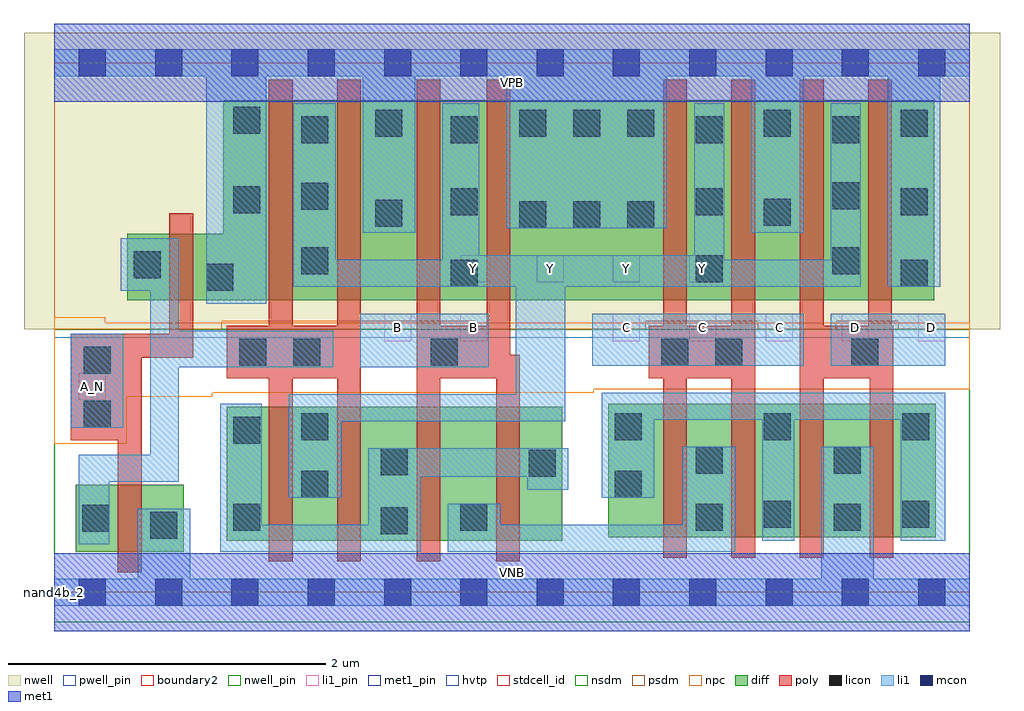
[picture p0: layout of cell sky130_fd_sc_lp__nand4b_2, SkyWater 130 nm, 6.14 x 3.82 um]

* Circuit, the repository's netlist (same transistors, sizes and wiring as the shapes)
* Copyright 2020 The SkyWater PDK Authors
*
* Licensed under the Apache License, Version 2.0 (the "License");
* you may not use this file except in compliance with the License.
* You may obtain a copy of the License at
*
*     https://www.apache.org/licenses/LICENSE-2.0
*
* Unless required by applicable law or agreed to in writing, software
* distributed under the License is distributed on an "AS IS" BASIS,
* WITHOUT WARRANTIES OR CONDITIONS OF ANY KIND, either express or implied.
* See the License for the specific language governing permissions and
* limitations under the License.
*
* SPDX-License-Identifier: Apache-2.0

.SUBCKT sky130_fd_sc_lp__nand4b_2 A_N B C D VGND VNB VPB VPWR Y
*.PININFO A_N:I B:I C:I D:I VGND:I VNB:I VPB:I VPWR:I Y:O
MMP0 Y A VPWR VPB sky130_fd_pr__pfet_01v8_hvt m=2 w=1.26U l=0.15U mult=1 sa=0.265
+ sb=0.265 sd=0.28 area=0.063 perim=1.14
MMP1 Y B VPWR VPB sky130_fd_pr__pfet_01v8_hvt m=2 w=1.26U l=0.15U mult=1 sa=0.265
+ sb=0.265 sd=0.28 area=0.063 perim=1.14
MMP2 Y C VPWR VPB sky130_fd_pr__pfet_01v8_hvt m=2 w=1.26U l=0.15U mult=1 sa=0.265
+ sb=0.265 sd=0.28 area=0.063 perim=1.14
MMP3 Y D VPWR VPB sky130_fd_pr__pfet_01v8_hvt m=2 w=1.26U l=0.15U mult=1 sa=0.265
+ sb=0.265 sd=0.28 area=0.063 perim=1.14
MMIP0 A A_N VPWR VPB sky130_fd_pr__pfet_01v8_hvt m=1 w=0.42U l=0.15U mult=1 sa=0.265
+ sb=0.265 sd=0.28 area=0.063 perim=1.14
MMN0 Y A sndA VNB sky130_fd_pr__nfet_01v8 m=2 w=0.84U l=0.15U mult=1 sa=0.265 sb=0.265
+ sd=0.28 area=0.063 perim=1.14
MMN1 sndA B sndB VNB sky130_fd_pr__nfet_01v8 m=2 w=0.84U l=0.15U mult=1 sa=0.265
+ sb=0.265 sd=0.28 area=0.063 perim=1.14
MMN2 sndB C sndC VNB sky130_fd_pr__nfet_01v8 m=2 w=0.84U l=0.15U mult=1 sa=0.265
+ sb=0.265 sd=0.28 area=0.063 perim=1.14
MMN3 sndC D VGND VNB sky130_fd_pr__nfet_01v8 m=2 w=0.84U l=0.15U mult=1 sa=0.265
+ sb=0.265 sd=0.28 area=0.063 perim=1.14
MMIN0 A A_N VGND VNB sky130_fd_pr__nfet_01v8 m=1 w=0.42U l=0.15U mult=1 sa=0.265
+ sb=0.265 sd=0.28 area=0.063 perim=1.14
.ENDS sky130_fd_sc_lp__nand4b_2

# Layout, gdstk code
import gdstk
lib = gdstk.Library(unit=1e-6, precision=1e-09)
def R(c, l, rs):  # rectangles x0, y0, x1, y1
    for r in rs: c.add(gdstk.rectangle(r[:2], r[2:], *l))
def A(c, l, x, y, w, h, nx, ny, dx, dy):  # array of equal rectangles
    R(c, l, [(x+i*dx, y+j*dy, x+i*dx+w, y+j*dy+h) for i in range(nx) for j in range(ny)])
def P(c, l, *ps):  # polygons
    for p in ps: c.add(gdstk.Polygon(p, *l))
nwell_pin = (64, 16)
nwell = (64, 20)
diff = (65, 20)
poly = (66, 20)
licon = (66, 44)
li1_pin = (67, 16)
li1 = (67, 20)
mcon = (67, 44)
met1_pin = (68, 16)
met1 = (68, 20)
hvtp = (78, 44)
stdcell_id = (81, 4)
nsdm = (93, 44)
psdm = (94, 20)
npc = (95, 20)
pwell_pin = (122, 16)
boundary2 = (236, 0)

sky130_fd_sc_lp__nand4b_ = lib.new_cell('sky130_fd_sc_lp__nand4b_2')
R(sky130_fd_sc_lp__nand4b_, nwell_pin, [(0,3.085,5.76,3.33)])
R(sky130_fd_sc_lp__nand4b_, nwell, [(-0.19,1.655,5.95,3.52)])
R(sky130_fd_sc_lp__nand4b_, diff, [(0.135,0.255,0.815,0.675), (1.085,0.325,3.195,1.165), (3.485,0.345,5.545,1.185)])
P(sky130_fd_sc_lp__nand4b_, diff, [(5.535,3.095),(1.065,3.095),(1.065,2.255),(0.46,2.255),(0.46,1.835),(5.535,1.835)])
P(sky130_fd_sc_lp__nand4b_, poly, [(0.875,2.385),(0.725,2.385),(0.725,1.625),(0.105,1.625),(0.105,0.955),(0.4,0.955),(0.4,0.125),(0.55,0.125),(0.55,1.475),(0.875,1.475)],
  [(1.93,3.225),(1.78,3.225),(1.78,1.675),(1.5,1.675),(1.5,3.225),(1.35,3.225),(1.35,1.675),(1.085,1.675),(1.085,1.345),(1.35,1.345),(1.35,0.195),(1.5,0.195),(1.5,1.345),(1.78,1.345),(1.78,0.195),(1.93,0.195)],
  [(2.93,1.495),(2.87,1.495),(2.87,3.225),(2.72,3.225),(2.72,1.675),(2.43,1.675),(2.43,3.225),(2.28,3.225),(2.28,0.195),(2.43,0.195),(2.43,1.345),(2.78,1.345),(2.78,0.195),(2.93,0.195)],
  [(4.41,3.225),(4.26,3.225),(4.26,1.675),(3.98,1.675),(3.98,3.225),(3.83,3.225),(3.83,1.675),(3.74,1.675),(3.74,1.345),(3.83,1.345),(3.83,0.215),(3.98,0.215),(3.98,1.345),(4.26,1.345),(4.26,0.215),(4.41,0.215)],
  [(5.28,1.675),(5.27,1.675),(5.27,3.225),(5.12,3.225),(5.12,1.675),(4.84,1.675),(4.84,3.225),(4.69,3.225),(4.69,0.215),(4.84,0.215),(4.84,1.345),(5.13,1.345),(5.13,0.215),(5.28,0.215)])
A(sky130_fd_sc_lp__nand4b_, licon, 2.925, 2.29, 0.17, 0.17, 3, 2, 0.34, 0.575)
R(sky130_fd_sc_lp__nand4b_, licon, [(0.605,0.335,0.775,0.505), (2.055,0.365,2.225,0.535), (0.175,0.38,0.345,0.55), (1.125,0.385,1.295,0.555), (2.555,0.385,2.725,0.555), (4.035,0.385,4.205,0.555), (4.905,0.385,5.075,0.555), (4.465,0.405,4.635,0.575), (5.335,0.405,5.505,0.575), (1.555,0.595,1.725,0.765), (3.525,0.595,3.695,0.765), (2.985,0.725,3.155,0.895), (2.055,0.735,2.225,0.905), (4.035,0.745,4.205,0.915), (4.905,0.745,5.075,0.915), (1.125,0.935,1.295,1.105), (1.555,0.955,1.725,1.125), (3.525,0.955,3.695,1.125), (4.465,0.955,4.635,1.125), (5.335,0.955,5.505,1.125), (0.185,1.035,0.355,1.205), (0.185,1.375,0.355,1.545), (1.165,1.425,1.335,1.595), (1.505,1.425,1.675,1.595), (2.37,1.425,2.54,1.595), (3.82,1.425,3.99,1.595), (4.16,1.425,4.33,1.595), (5.015,1.425,5.185,1.595), (0.955,1.895,1.125,2.065), (2.495,1.92,2.665,2.09), (5.325,1.92,5.495,2.09), (4.035,1.95,4.205,2.12), (0.5,1.975,0.67,2.145), (1.555,2,1.725,2.17), (4.895,2,5.065,2.17), (2.02,2.3,2.19,2.47), (4.465,2.305,4.635,2.475), (2.495,2.37,2.665,2.54), (4.035,2.37,4.205,2.54), (5.325,2.37,5.495,2.54), (1.125,2.385,1.295,2.555), (1.555,2.405,1.725,2.575), (4.895,2.41,5.065,2.58), (1.555,2.825,1.725,2.995), (2.495,2.825,2.665,2.995), (4.035,2.825,4.205,2.995), (4.895,2.825,5.065,2.995), (2.02,2.865,2.19,3.035), (4.465,2.865,4.635,3.035), (5.325,2.865,5.495,3.035), (1.125,2.885,1.295,3.055)])
A(sky130_fd_sc_lp__nand4b_, li1_pin, 3.515, 1.58, 0.17, 0.17, 5, 1, 0.48, 0)
A(sky130_fd_sc_lp__nand4b_, li1_pin, 2.555, 1.95, 0.17, 0.17, 4, 1, 0.48, 0)
R(sky130_fd_sc_lp__nand4b_, li1_pin, [(0.155,1.21,0.325,1.38), (2.075,1.58,2.245,1.75), (2.555,1.58,2.725,1.75)])
R(sky130_fd_sc_lp__nand4b_, li1, [(0.105,1.035,0.435,1.625), (1.925,1.415,2.735,1.75), (3.385,1.425,4.715,1.75), (4.885,1.425,5.605,1.75)])
P(sky130_fd_sc_lp__nand4b_, li1, [(5.245,1.92),(5.245,3.245),(4.715,3.245),(4.715,2.26),(4.385,2.26),(4.385,3.245),(3.855,3.245),(3.855,2.29),(2.845,2.29),(2.845,3.245),(2.27,3.245),(2.27,2.26),(1.94,2.26),(1.94,3.245),(1.335,3.245),(1.335,1.815),(0.955,1.815),(0.955,3.245),(0,3.245),(0,3.415),(5.76,3.415),(5.76,3.245),(5.575,3.245),(5.575,1.92)],
  [(0.525,0.085),(0.525,0.525),(0.855,0.525),(0.855,0.085),(4.825,0.085),(4.825,0.915),(5.155,0.915),(5.155,0.085),(5.76,0.085),(5.76,-0.085),(0,-0.085),(0,0.085)],
  [(4.025,2.12),(4.025,3.075),(4.215,3.075),(4.215,2.09),(4.885,2.09),(4.885,3.075),(5.075,3.075),(5.075,1.92),(3.215,1.92),(3.215,1.075),(1.805,1.075),(1.805,0.595),(1.475,0.595),(1.475,1.245),(2.905,1.245),(2.905,1.92),(1.505,1.92),(1.505,3.075),(1.77,3.075),(1.77,2.09),(2.44,2.09),(2.44,3.075),(2.675,3.075),(2.675,2.12)],
  [(0.785,0.695),(0.345,0.695),(0.345,0.3),(0.155,0.3),(0.155,0.865),(0.605,0.865),(0.605,1.895),(0.42,1.895),(0.42,2.225),(0.785,2.225),(0.785,1.645),(1.755,1.645),(1.755,1.415),(0.785,1.415)],
  [(5.325,1.085),(4.655,1.085),(4.655,0.325),(4.455,0.325),(4.455,1.085),(3.775,1.085),(3.775,0.595),(3.445,0.595),(3.445,1.255),(5.605,1.255),(5.605,0.325),(5.325,0.325)],
  [(2.805,0.425),(3.955,0.425),(3.955,0.915),(4.285,0.915),(4.285,0.255),(2.475,0.255),(2.475,0.555),(2.805,0.555)],
  [(3.235,0.905),(1.975,0.905),(1.975,0.425),(1.305,0.425),(1.305,1.185),(1.045,1.185),(1.045,0.255),(2.305,0.255),(2.305,0.725),(2.975,0.725),(2.975,0.645),(3.235,0.645)])
A(sky130_fd_sc_lp__nand4b_, mcon, 0.155, -0.085, 0.17, 0.17, 12, 2, 0.48, 3.33)
R(sky130_fd_sc_lp__nand4b_, met1_pin, [(0,0,5.76,0.245), (0,3.085,5.76,3.33)])
R(sky130_fd_sc_lp__nand4b_, met1, [(0,-0.245,5.76,0.245), (0,3.085,5.76,3.575)])
R(sky130_fd_sc_lp__nand4b_, hvtp, [(0,1.6,5.76,3.33)])
R(sky130_fd_sc_lp__nand4b_, stdcell_id, [(0,0,5.76,3.33)])
R(sky130_fd_sc_lp__nand4b_, nsdm, [(0,-0.19,5.76,1.655)])
P(sky130_fd_sc_lp__nand4b_, psdm, [(5.76,3.52),(0,3.52),(0,1.655),(1.055,1.655),(1.055,1.705),(2.65,1.705),(2.65,1.655),(3.72,1.655),(3.72,1.705),(4.425,1.705),(4.425,1.655),(4.92,1.655),(4.92,1.705),(5.31,1.705),(5.31,1.655),(5.76,1.655)])
P(sky130_fd_sc_lp__nand4b_, npc, [(5.76,1.695),(0.32,1.695),(0.32,1.73),(0,1.73),(0,0.935),(0.455,0.935),(0.455,1.23),(0.995,1.23),(0.995,1.255),(3.395,1.255),(3.395,1.275),(5.76,1.275)])
R(sky130_fd_sc_lp__nand4b_, pwell_pin, [(0,0,5.76,0.245)])
R(sky130_fd_sc_lp__nand4b_, boundary2, [(0,0,5.76,3.33)])
sky130_fd_sc_lp__nand4b_.add(gdstk.Label('VNB', (2.88,0.123), layer=64, texttype=59))
sky130_fd_sc_lp__nand4b_.add(gdstk.Label('VPB', (2.88,3.208), layer=64, texttype=5))
sky130_fd_sc_lp__nand4b_.add(gdstk.Label('nand4b_2', (0,0), layer=83, texttype=44))
sky130_fd_sc_lp__nand4b_.add(gdstk.Label('VPWR', (2.88,3.208), layer=68, texttype=5))
sky130_fd_sc_lp__nand4b_.add(gdstk.Label('VGND', (2.88,0.123), layer=68, texttype=5))
sky130_fd_sc_lp__nand4b_.add(gdstk.Label('Y', (2.64,2.035), layer=67, texttype=5))
sky130_fd_sc_lp__nand4b_.add(gdstk.Label('Y', (3.12,2.035), layer=67, texttype=5))
sky130_fd_sc_lp__nand4b_.add(gdstk.Label('Y', (3.6,2.035), layer=67, texttype=5))
sky130_fd_sc_lp__nand4b_.add(gdstk.Label('Y', (4.08,2.035), layer=67, texttype=5))
sky130_fd_sc_lp__nand4b_.add(gdstk.Label('B', (2.16,1.665), layer=67, texttype=5))
sky130_fd_sc_lp__nand4b_.add(gdstk.Label('B', (2.64,1.665), layer=67, texttype=5))
sky130_fd_sc_lp__nand4b_.add(gdstk.Label('C', (3.6,1.665), layer=67, texttype=5))
sky130_fd_sc_lp__nand4b_.add(gdstk.Label('C', (4.08,1.665), layer=67, texttype=5))
sky130_fd_sc_lp__nand4b_.add(gdstk.Label('C', (4.56,1.665), layer=67, texttype=5))
sky130_fd_sc_lp__nand4b_.add(gdstk.Label('D', (5.04,1.665), layer=67, texttype=5))
sky130_fd_sc_lp__nand4b_.add(gdstk.Label('D', (5.52,1.665), layer=67, texttype=5))
sky130_fd_sc_lp__nand4b_.add(gdstk.Label('A_N', (0.24,1.295), layer=67, texttype=5))

lib.write_gds('sky130_fd_sc_lp__nand4b_2.gds')
